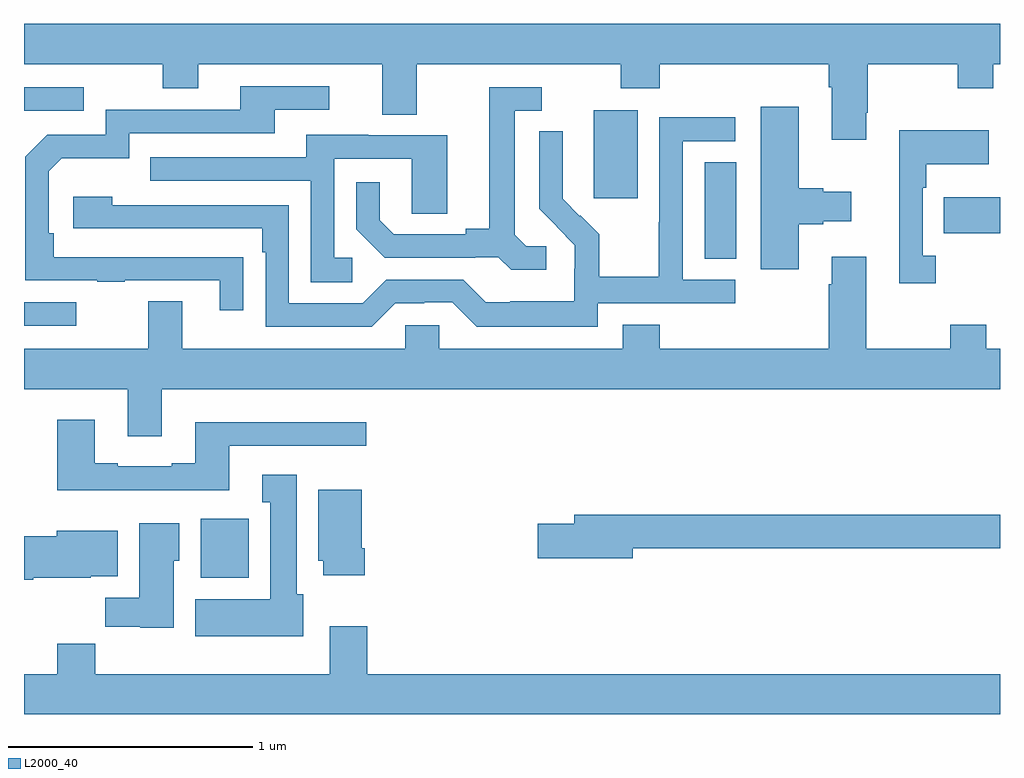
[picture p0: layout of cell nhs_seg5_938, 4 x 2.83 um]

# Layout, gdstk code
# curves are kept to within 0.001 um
import gdstk
lib = gdstk.Library(unit=1e-6, precision=1e-09)
def R(c, l, rs):  # rectangles x0, y0, x1, y1
    for r in rs: c.add(gdstk.rectangle(r[:2], r[2:], *l))
def P(c, l, *ps):  # polygons
    for p in ps: c.add(gdstk.Polygon(p, *l))
L2000_40 = (2000, 40)

nhs_seg5_938 = lib.new_cell('nhs_seg5_938')
R(nhs_seg5_938, L2000_40, [(171.725,851.99,171.922,852.232), (171,853.023,171.214,853.119), (173.789,853.297,173.92,853.694), (174.769,853.402,175,853.549), (173.336,853.545,173.515,853.906), (171,853.905,171.244,854.001)])
P(nhs_seg5_938, L2000_40, [(174.451,853.897),(174.459,853.897),(174.459,854.096),(174.826,854.096),(174.826,853.997),(174.972,853.997),(174.972,854.096),(175,854.096),(175,854.26),(171,854.26),(171,854.096),(171.568,854.096),(171.568,853.997),(171.715,853.997),(171.715,854.096),(172.469,854.096),(172.469,853.888),(172.609,853.888),(172.609,854.096),(173.446,854.096),(173.446,853.997),(173.606,853.997),(173.606,854.096),(174.299,854.096),(174.299,854),(174.311,854),(174.311,853.785),(174.451,853.785)],
  [(171.899,853.304),(171.122,853.305),(171.122,853.402),(171.102,853.402),(171.102,853.656),(171.155,853.709),(171.432,853.709),(171.432,853.812),(172.027,853.812),(172.027,853.908),(172.252,853.908),(172.252,854.004),(171.887,854.004),(171.887,853.908),(171.336,853.908),(171.336,853.806),(171.096,853.806),(171.006,853.716),(171.006,853.209),(171.301,853.209),(171.301,853.204),(171.413,853.204),(171.413,853.209),(171.803,853.209),(171.803,853.086),(171.899,853.086)],
  [(173.14,853.35),(173.058,853.35),(173.011,853.397),(173.011,853.905),(173.122,853.905),(173.122,854.001),(172.907,854.001),(172.907,853.421),(172.811,853.421),(172.811,853.398),(172.516,853.398),(172.459,853.455),(172.459,853.612),(172.362,853.612),(172.362,853.418),(172.478,853.302),(172.85,853.302),(172.85,853.305),(172.944,853.305),(172.996,853.253),(173.14,853.253)],
  [(174.175,853.439),(174.275,853.439),(174.275,853.451),(174.391,853.451),(174.391,853.573),(174.275,853.573),(174.275,853.586),(174.175,853.586),(174.175,853.921),(174.02,853.921),(174.02,853.254),(174.175,853.254)],
  [(173.352,853.116),(173.914,853.116),(173.914,853.212),(173.7,853.212),(173.7,853.779),(173.914,853.779),(173.914,853.878),(173.604,853.878),(173.604,853.448),(173.602,853.448),(173.602,853.225),(173.357,853.225),(173.357,853.399),(173.28,853.476),(173.277,853.473),(173.207,853.544),(173.208,853.82),(173.112,853.82),(173.112,853.502),(173.258,853.354),(173.258,853.257),(173.256,853.257),(173.256,853.123),(172.993,853.123),(172.993,853.119),(172.893,853.119),(172.8,853.212),(172.485,853.212),(172.389,853.116),(172.086,853.116),(172.086,853.518),(171.362,853.518),(171.362,853.552),(171.201,853.552),(171.201,853.422),(171.977,853.422),(171.977,853.325),(171.99,853.325),(171.99,853.02),(172.425,853.02),(172.521,853.116),(172.64,853.116),(172.64,853.119),(172.755,853.119),(172.855,853.019),(173.352,853.019)],
  [(174.736,853.31),(174.684,853.31),(174.684,853.589),(174.697,853.589),(174.697,853.685),(174.953,853.685),(174.953,853.825),(174.587,853.825),(174.587,853.197),(174.736,853.197)],
  [(172.345,853.302),(172.272,853.302),(172.272,853.707),(172.59,853.707),(172.59,853.483),(172.735,853.483),(172.735,853.803),(172.411,853.803),(172.411,853.807),(172.157,853.807),(172.157,853.713),(171.517,853.713),(171.517,853.617),(172.176,853.617),(172.176,853.201),(172.345,853.201)],
  [(171.565,852.764),(175,852.764),(175,852.928),(174.943,852.928),(174.943,853.027),(174.796,853.027),(174.796,852.928),(174.451,852.928),(174.451,853.306),(174.311,853.306),(174.311,853.193),(174.299,853.193),(174.299,852.928),(173.606,852.928),(173.606,853.027),(173.453,853.027),(173.453,852.928),(172.701,852.928),(172.701,853.026),(172.563,853.026),(172.563,852.928),(171.649,852.928),(171.649,853.123),(171.509,853.123),(171.509,852.928),(171,852.928),(171,852.764),(171.425,852.764),(171.425,852.57),(171.565,852.57)],
  [(171.841,852.531),(172.402,852.531),(172.402,852.628),(171.701,852.628),(171.701,852.46),(171.605,852.46),(171.605,852.447),(171.385,852.447),(171.385,852.46),(171.289,852.46),(171.289,852.637),(171.137,852.637),(171.137,852.35),(171.841,852.35)],
  [(172.144,851.922),(172.117,851.922),(172.117,852.412),(171.977,852.412),(171.977,852.299),(172.01,852.299),(172.01,851.902),(171.701,851.902),(171.701,851.75),(172.144,851.75)],
  [(172.397,852.112),(172.384,852.112),(172.384,852.352),(172.205,852.352),(172.205,852.06),(172.226,852.06),(172.226,852),(172.397,852)],
  [(173.494,852.112),(175,852.112),(175,852.248),(173.255,852.248),(173.255,852.212),(173.106,852.212),(173.106,852.07),(173.494,852.07)],
  [(171.613,852.06),(171.637,852.06),(171.637,852.214),(171.473,852.214),(171.473,851.908),(171.334,851.908),(171.334,851.79),(171.477,851.79),(171.477,851.786),(171.613,851.786)],
  [(171.037,851.99),(171.273,851.99),(171.273,851.996),(171.385,851.996),(171.385,852.184),(171.134,852.184),(171.134,852.161),(171,852.161),(171,851.983),(171.037,851.983)],
  [(175,851.596),(172.406,851.596),(172.406,851.791),(172.253,851.791),(172.253,851.596),(171.293,851.596),(171.293,851.72),(171.137,851.72),(171.137,851.596),(171,851.596),(171,851.432),(175,851.432)])

lib.write_gds('nhs_seg5_938.gds')
